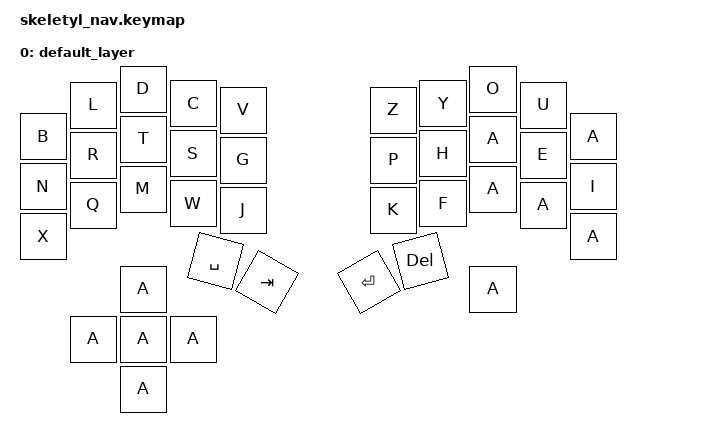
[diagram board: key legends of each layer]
// Define scroll speed BEFORE including pointing.h
// #define ZMK_POINTING_DEFAULT_MOVE_VAL 600

#define ZMK_POINTING_DEFAULT_MOVE_VAL 1100
#define ZMK_POINTING_DEFAULT_SCRL_VAL 100

//#include <locale/keys_en_gb_extended.h>
#include <behaviors.dtsi>
#include <dt-bindings/zmk/bt.h>
#include <dt-bindings/zmk/keys.h>
#include <dt-bindings/zmk/outputs.h>
#include <dt-bindings/zmk/pointing.h>

/ {
    // Define a default keymap here.
    // See https://zmk.dev/docs/development/hardware-integration/new-shield#default-keymap.
    keymap {
        compatible = "zmk,keymap";

        default_layer {
            bindings = <
                &kp B  &kp L  &kp D  &kp C  &kp V    &kp Z  &kp Y  &kp O  &kp U  &kp A  
                &kp N  &kp R  &kp T  &kp S  &kp G    &kp P  &kp H  &kp A  &kp E  &kp I  
                &kp X  &kp Q  &kp M  &kp W  &kp J    &kp K  &kp F  &kp A  &kp A  &kp A  
                                     &kp SPACE  &kp TAB    &kp RET  &kp DELETE  &kp A
                &kp A  &kp A  &kp A  &kp A  &kp A  
            >;
        };
    };
};
